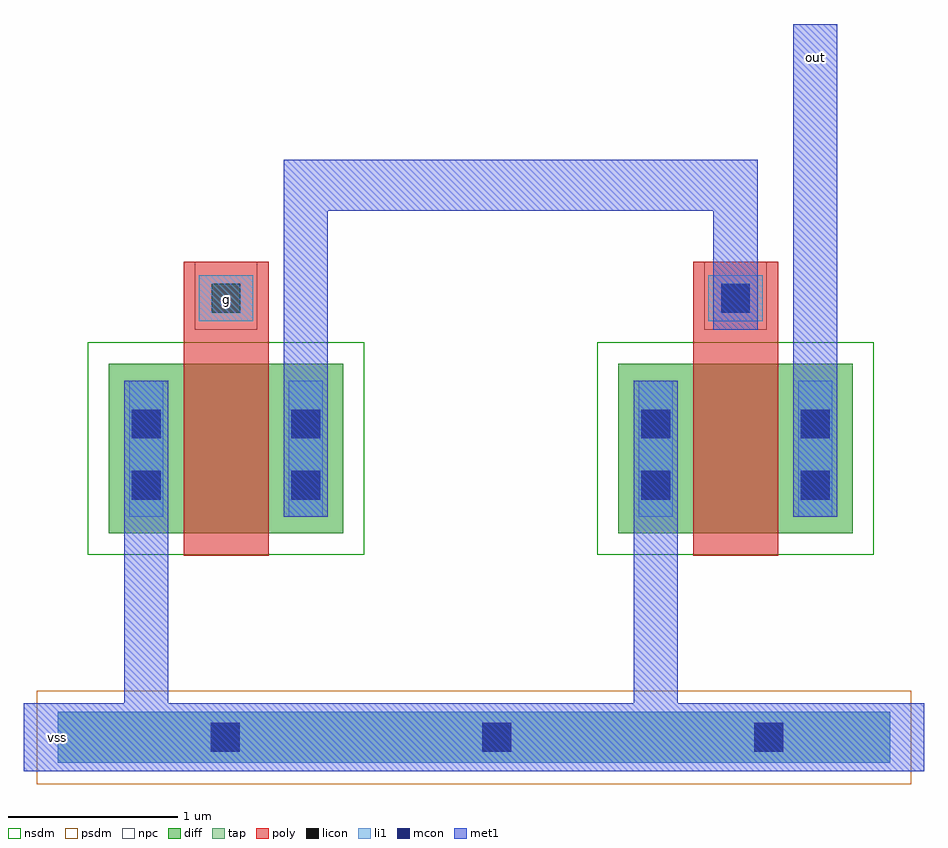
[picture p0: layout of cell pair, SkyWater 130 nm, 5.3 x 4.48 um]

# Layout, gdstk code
import gdstk
lib = gdstk.Library(unit=1e-6, precision=1e-09)
def R(c, l, rs):  # rectangles x0, y0, x1, y1
    for r in rs: c.add(gdstk.rectangle(r[:2], r[2:], *l))
def A(c, l, x, y, w, h, nx, ny, dx, dy):  # array of equal rectangles
    R(c, l, [(x+i*dx, y+j*dy, x+i*dx+w, y+j*dy+h) for i in range(nx) for j in range(ny)])
diff = (65, 20)
tap = (65, 44)
poly = (66, 20)
licon = (66, 44)
li1 = (67, 20)
mcon = (67, 44)
met1 = (68, 20)
nsdm = (93, 44)
psdm = (94, 20)
npc = (95, 20)

pair = lib.new_cell('pair')
R(pair, diff, [(0,0,1.38,1), (3,0,4.38,1)])
R(pair, tap, [(-0.3,-1.35,4.6,-1.05)])
R(pair, poly, [(0.44,-0.13,0.94,1.6), (3.44,-0.13,3.94,1.6)])
A(pair, licon, 0.6, -1.285, 0.17, 0.17, 3, 1, 1.6, 0)
R(pair, licon, [(0.135,0.2,0.305,0.37), (1.075,0.2,1.245,0.37), (3.135,0.2,3.305,0.37), (4.075,0.2,4.245,0.37), (0.135,0.56,0.305,0.73), (1.075,0.56,1.245,0.73), (3.135,0.56,3.305,0.73), (4.075,0.56,4.245,0.73), (0.605,1.3,0.775,1.47), (3.605,1.3,3.775,1.47)])
R(pair, li1, [(-0.3,-1.35,4.6,-1.05), (0.12,0.1,0.32,0.9), (1.06,0.1,1.26,0.9), (3.12,0.1,3.32,0.9), (4.06,0.1,4.26,0.9), (0.53,1.25,0.85,1.52), (3.53,1.25,3.85,1.52)])
A(pair, mcon, 0.6, -1.285, 0.17, 0.17, 3, 1, 1.6, 0)
R(pair, mcon, [(0.135,0.2,0.305,0.37), (1.075,0.2,1.245,0.37), (3.135,0.2,3.305,0.37), (4.075,0.2,4.245,0.37), (0.135,0.56,0.305,0.73), (1.075,0.56,1.245,0.73), (3.135,0.56,3.305,0.73), (4.075,0.56,4.245,0.73), (3.605,1.3,3.775,1.47)])
R(pair, met1, [(-0.5,-1.4,4.8,-1), (0.09,-1.4,0.35,0.9), (3.09,-1.4,3.35,0.9), (1.03,0.1,1.29,2.2), (4.03,0.1,4.29,3), (3.56,1.2,3.82,2.2), (1.03,1.9,3.82,2.2)])
R(pair, nsdm, [(-0.125,-0.125,1.505,1.125), (2.875,-0.125,4.505,1.125)])
R(pair, psdm, [(-0.425,-1.475,4.725,-0.925)])
R(pair, npc, [(0.505,1.2,0.875,1.6), (3.505,1.2,3.875,1.6)])
pair.add(gdstk.Label('g', (0.69,1.38), layer=67, texttype=5))
pair.add(gdstk.Label('out', (4.16,2.8), layer=68, texttype=5))
pair.add(gdstk.Label('vss', (-0.3,-1.2), layer=68, texttype=5))

lib.write_gds('pair.gds')
